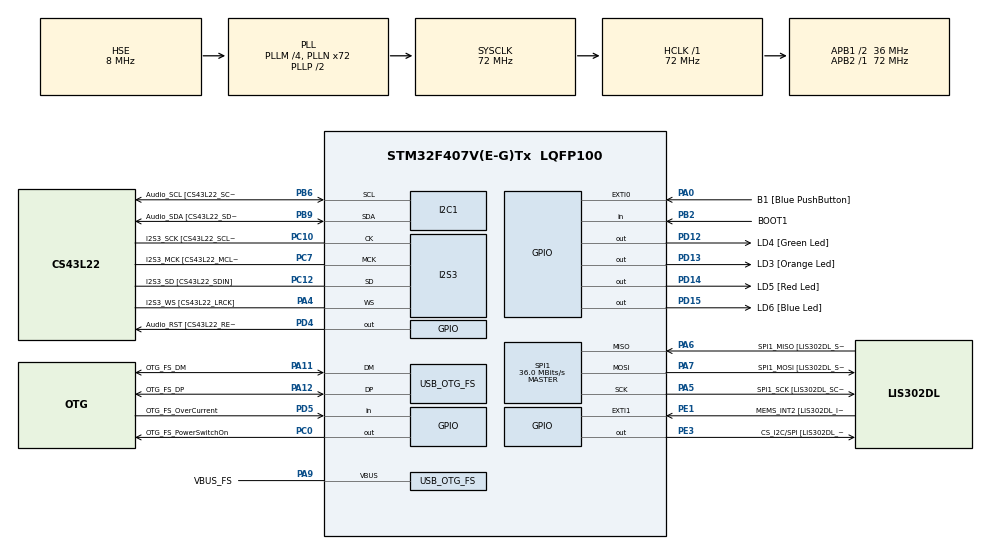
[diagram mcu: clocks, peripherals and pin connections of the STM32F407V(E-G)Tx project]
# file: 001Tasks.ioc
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I2S3.AudioFreq=I2S_AUDIOFREQ_96K
I2S3.AudioFreq-Half_Duplex_Master=I2S_AUDIOFREQ_96K
I2S3.ErrorAudioFreq=1.72 %
I2S3.ErrorAudioFreq-Half_Duplex_Master=0.8 %
I2S3.FullDuplexMode=I2S_FULLDUPLEXMODE_DISABLE
I2S3.Instance=SPI$Index
I2S3.RealAudioFreq=97.656 KHz
I2S3.RealAudioFreq-Half_Duplex_Master=96.774 KHz
I2S3.VirtualMode=I2S_MODE_MASTER
Mcu.Family=STM32F4
Mcu.Name=STM32F407V(E-G)Tx
Mcu.Package=LQFP100
NVIC.OTG_FS_IRQn=true\:0\:0\:false\:false\:true\:true\:true\:true
NVIC.PriorityGroup=NVIC_PRIORITYGROUP_4
NVIC.TIM6_DAC_IRQn=true\:0\:0\:false\:false\:true\:false\:true\:true
NVIC.TimeBase=TIM6_DAC_IRQn
NVIC.TimeBaseIP=TIM6
PA0-WKUP.GPIO_Label=B1 [Blue PushButton]
PA0-WKUP.GPIO_ModeDefaultEXTI=GPIO_MODE_EVT_RISING
PA0-WKUP.GPIO_PuPd=GPIO_NOPULL
PA0-WKUP.Signal=GPXTI0
PA10.GPIO_Label=OTG_FS_ID
PA10.GPIO_Mode=GPIO_MODE_AF_PP
PA10.GPIO_PuPd=GPIO_NOPULL
PA10.GPIO_Speed=GPIO_SPEED_FREQ_LOW
PA10.Signal=USB_OTG_FS_ID
PA11.GPIO_Label=OTG_FS_DM
PA11.GPIO_Mode=GPIO_MODE_AF_PP
PA11.GPIO_PuPd=GPIO_NOPULL
PA11.GPIO_Speed=GPIO_SPEED_FREQ_LOW
PA11.Mode=Host_Only
PA11.Signal=USB_OTG_FS_DM
PA12.GPIO_Label=OTG_FS_DP
PA12.GPIO_Mode=GPIO_MODE_AF_PP
PA12.GPIO_PuPd=GPIO_NOPULL
PA12.GPIO_Speed=GPIO_SPEED_FREQ_LOW
PA12.Mode=Host_Only
PA12.Signal=USB_OTG_FS_DP
PA13.GPIO_Label=SWDIO
PA13.Mode=Serial_Wire
PA13.Signal=SYS_JTMS-SWDIO
PA14.GPIO_Label=SWCLK
PA14.Mode=Serial_Wire
PA14.Signal=SYS_JTCK-SWCLK
PA4.GPIO_Label=I2S3_WS [CS43L22_LRCK]
PA4.GPIO_Mode=GPIO_MODE_AF_PP
PA4.GPIO_PuPd=GPIO_NOPULL
PA4.GPIO_Speed=GPIO_SPEED_FREQ_LOW
PA4.Mode=Half_Duplex_Master
PA4.Signal=I2S3_WS
PA5.GPIO_Label=SPI1_SCK [LIS302DL_SCL/SPC]
PA5.GPIO_Mode=GPIO_MODE_AF_PP
PA5.GPIO_PuPd=GPIO_NOPULL
PA5.GPIO_Speed=GPIO_SPEED_FREQ_LOW
PA5.Mode=Full_Duplex_Master
PA5.Signal=SPI1_SCK
PA6.GPIO_Label=SPI1_MISO [LIS302DL_SDO]
PA6.GPIO_Mode=GPIO_MODE_AF_PP
PA6.GPIO_PuPd=GPIO_NOPULL
PA6.GPIO_Speed=GPIO_SPEED_FREQ_LOW
PA6.Mode=Full_Duplex_Master
PA6.Signal=SPI1_MISO
PA7.GPIO_Label=SPI1_MOSI [LIS302DL_SDA/SDI/SDO]
PA7.GPIO_Mode=GPIO_MODE_AF_PP
PA7.GPIO_PuPd=GPIO_NOPULL
PA7.GPIO_Speed=GPIO_SPEED_FREQ_LOW
PA7.Mode=Full_Duplex_Master
PA7.Signal=SPI1_MOSI
PA9.GPIO_Label=VBUS_FS
PA9.GPIO_Mode=GPIO_MODE_INPUT
PA9.GPIO_PuPd=GPIO_NOPULL
PA9.Mode=Activate_VBUS
PA9.Signal=USB_OTG_FS_VBUS
PB10.GPIO_Label=CLK_IN [MP45DT02_CLK]
PB10.GPIO_Mode=GPIO_MODE_AF_PP
PB10.GPIO_PuPd=GPIO_NOPULL
PB10.GPIO_Speed=GPIO_SPEED_FREQ_LOW
PB10.Signal=I2S2_CK
PB2.GPIO_Label=BOOT1
PB2.GPIO_Mode=GPIO_MODE_INPUT
PB2.GPIO_PuPd=GPIO_NOPULL
PB2.Signal=GPIO_Input
PB3.GPIO_Label=SWO
PB3.Signal=SYS_JTDO-SWO
PB6.GPIO_Label=Audio_SCL [CS43L22_SCL]
PB6.GPIO_Mode=GPIO_MODE_AF_OD
PB6.GPIO_Pu=GPIO_PULLUP
PB6.GPIO_PuPd=GPIO_NOPULL
PB6.GPIO_Speed=GPIO_SPEED_FREQ_LOW
PB6.Mode=I2C
PB6.Signal=I2C1_SCL
PB9.GPIO_Label=Audio_SDA [CS43L22_SDA]
PB9.GPIO_Mode=GPIO_MODE_AF_OD
PB9.GPIO_Pu=GPIO_PULLUP
PB9.GPIO_PuPd=GPIO_NOPULL
PB9.GPIO_Speed=GPIO_SPEED_FREQ_LOW
PB9.Mode=I2C
PB9.Signal=I2C1_SDA
PC0.GPIO_Label=OTG_FS_PowerSwitchOn
PC0.GPIO_PuPd=GPIO_NOPULL
PC0.GPIO_Speed=GPIO_SPEED_FREQ_LOW
PC0.PinState=GPIO_PIN_SET
PC0.Signal=GPIO_Output
PC10.GPIO_Label=I2S3_SCK [CS43L22_SCLK]
PC10.GPIO_Mode=GPIO_MODE_AF_PP
PC10.GPIO_PuPd=GPIO_NOPULL
PC10.GPIO_Speed=GPIO_SPEED_FREQ_LOW
PC10.Mode=Half_Duplex_Master
PC10.Signal=I2S3_CK
PC12.GPIO_Label=I2S3_SD [CS43L22_SDIN]
PC12.GPIO_Mode=GPIO_MODE_AF_PP
PC12.GPIO_PuPd=GPIO_NOPULL
PC12.GPIO_Speed=GPIO_SPEED_FREQ_LOW
PC12.Mode=Half_Duplex_Master
PC12.Signal=I2S3_SD
PC14-OSC32_IN.GPIO_Label=PC14-OSC32_IN
PC14-OSC32_IN.Mode=LSE-External-Oscillator
PC14-OSC32_IN.Signal=RCC_OSC32_IN
PC15-OSC32_OUT.GPIO_Label=PC15-OSC32_OUT
PC15-OSC32_OUT.Mode=LSE-External-Oscillator
PC15-OSC32_OUT.Signal=RCC_OSC32_OUT
PC3.GPIO_Label=PDM_OUT [MP45DT02_DOUT]
PC3.GPIO_Mode=GPIO_MODE_AF_PP
PC3.GPIO_PuPd=GPIO_NOPULL
PC3.GPIO_Speed=GPIO_SPEED_FREQ_LOW
PC3.Signal=I2S2_SD
PC7.GPIO_Label=I2S3_MCK [CS43L22_MCLK]
PC7.GPIO_Mode=GPIO_MODE_AF_PP
PC7.GPIO_PuPd=GPIO_NOPULL
PC7.GPIO_Speed=GPIO_SPEED_FREQ_LOW
PC7.Mode=Master_Clock_Activated
PC7.Signal=I2S3_MCK
PD12.GPIO_Label=LD4 [Green Led]
PD12.GPIO_PuPd=GPIO_NOPULL
PD12.GPIO_Speed=GPIO_SPEED_FREQ_LOW
PD12.Signal=GPIO_Output
PD13.GPIO_Label=LD3 [Orange Led]
PD13.GPIO_PuPd=GPIO_NOPULL
PD13.GPIO_Speed=GPIO_SPEED_FREQ_LOW
PD13.Signal=GPIO_Output
PD14.GPIO_Label=LD5 [Red Led]
PD14.GPIO_PuPd=GPIO_NOPULL
PD14.GPIO_Speed=GPIO_SPEED_FREQ_LOW
PD14.Signal=GPIO_Output
PD15.GPIO_Label=LD6 [Blue Led]
PD15.GPIO_PuPd=GPIO_NOPULL
PD15.GPIO_Speed=GPIO_SPEED_FREQ_LOW
PD15.Signal=GPIO_Output
PD4.GPIO_Label=Audio_RST [CS43L22_RESET]
PD4.GPIO_PuPd=GPIO_NOPULL
PD4.GPIO_Speed=GPIO_SPEED_FREQ_LOW
PD4.Signal=GPIO_Output
PD5.GPIO_Label=OTG_FS_OverCurrent
PD5.GPIO_Mode=GPIO_MODE_INPUT
PD5.GPIO_PuPd=GPIO_NOPULL
PD5.Signal=GPIO_Input
PE1.GPIO_Label=MEMS_INT2 [LIS302DL_INT2]
PE1.GPIO_ModeDefaultEXTI=GPIO_MODE_EVT_RISING
PE1.GPIO_PuPd=GPIO_NOPULL
PE1.Signal=GPXTI1
PE3.GPIO_Label=CS_I2C/SPI [LIS302DL_CS_I2C/SPI]
PE3.GPIO_PuPd=GPIO_NOPULL
PE3.GPIO_Speed=GPIO_SPEED_FREQ_LOW
PE3.Signal=GPIO_Output
PH0-OSC_IN.GPIO_Label=PH0-OSC_IN
PH0-OSC_IN.Mode=HSE-External-Oscillator
PH0-OSC_IN.Signal=RCC_OSC_IN
PH1-OSC_OUT.GPIO_Label=PH1-OSC_OUT
PH1-OSC_OUT.Mode=HSE-External-Oscillator
PH1-OSC_OUT.Signal=RCC_OSC_OUT
ProjectManager.HeapSize=0x200
ProjectManager.StackSize=0x400
ProjectManager.TargetToolchain=STM32CubeIDE
RCC.48MHZClocksFreq_Value=48000000
RCC.AHBFreq_Value=72000000
RCC.APB1CLKDivider=RCC_HCLK_DIV2
RCC.APB1Freq_Value=36000000
RCC.APB1TimFreq_Value=72000000
RCC.APB2Freq_Value=72000000
RCC.APB2TimFreq_Value=72000000
RCC.CortexFreq_Value=72000000
RCC.HCLKFreq_Value=72000000
RCC.HSE_VALUE=8000000
RCC.HSI_VALUE=16000000
RCC.PLLI2SN=100
RCC.PLLM=4
RCC.PLLN=72
RCC.PLLQ=3
RCC.SYSCLKFreq_VALUE=72000000
RCC.SYSCLKSource=RCC_SYSCLKSOURCE_PLLCLK
RCC.VCOOutputFreq_Value=144000000
SPI1.BaudRatePrescaler=SPI_BAUDRATEPRESCALER_2
SPI1.BaudRatePrescaler-Full_Duplex_Master=SPI_BAUDRATEPRESCALER_2
SPI1.CalculateBaudRate=36.0 MBits/s
SPI1.CalculateBaudRate-Full_Duplex_Master=42.0 MBits/s
SPI1.Direction=SPI_DIRECTION_2LINES
SPI1.Mode=SPI_MODE_MASTER
SPI1.Mode-Full_Duplex_Master=SPI_MODE_MASTER
SPI1.VirtualType=VM_MASTER
USB_HOST.BSP.number=1
USB_HOST.USBH_HandleTypeDef-CDC_FS=hUsbHostFS
USB_HOST.VirtualModeFS=Cdc
USB_HOST0.BSP.STBoard=false
USB_HOST0.BSP.api=Unknown
USB_HOST0.BSP.instance=PC0
USB_HOST0.BSP.ip=GPIO
USB_HOST0.BSP.mode=Output
USB_HOST0.BSP.name=Drive_VBUS_FS
USB_HOST0.BSP.solution=PC0
USB_OTG_FS.VirtualMode=Host_Only
USB_OTG_FS.phy_itface=HCD_PHY_EMBEDDED
VP_SYS_VS_tim6.Mode=TIM6
VP_USB_HOST_VS_USB_HOST_CDC_FS.Mode=CDC_FS
board=STM32F407G-DISC1

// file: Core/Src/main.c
/* USER CODE BEGIN Header */
/**
  ******************************************************************************
  * @file           : main.c
  * @brief          : Main program body
  ******************************************************************************
  * @attention
  *
  * Copyright (c) 2024 STMicroelectronics.
  * All rights reserved.
  *
  * This software is licensed under terms that can be found in the LICENSE file
  * in the root directory of this software component.
  * If no LICENSE file comes with this software, it is provided AS-IS.
  *
  ******************************************************************************
  */
/* USER CODE END Header */
#include "main.h"
#include "usb_host.h"

/* USER CODE BEGIN Includes */
#include <stdio.h>
#include "FreeRTOS.h"
#include "task.h"

/* USER CODE END Includes */

I2C_HandleTypeDef hi2c1;

I2S_HandleTypeDef hi2s3;

SPI_HandleTypeDef hspi1;

/* USER CODE BEGIN PV */

#define DWT_CTRL    (*(volatile uint32_t*)0xE0001000)

/* USER CODE END PV */

void SystemClock_Config(void);
static void MX_GPIO_Init(void);
static void MX_I2C1_Init(void);
static void MX_I2S3_Init(void);
static void MX_SPI1_Init(void);
void MX_USB_HOST_Process(void);

/* USER CODE BEGIN PFP */

	static void task1_handler(void *parameters);
	static void task2_handler(void *parameters);

/* USER CODE END PFP */

int main(void)
{

  /* USER CODE BEGIN 1 */

	TaskHandle_t task1_handle;
	TaskHandle_t task2_handle;

	BaseType_t status;

  /* USER CODE END 1 */

  /* MCU Configuration--------------------------------------------------------*/

  /* Reset of all peripherals, Initializes the Flash interface and the Systick. */
	HAL_Init();

  /* Configure the system clock */
  SystemClock_Config();

  /* Initialize all configured peripherals */
  MX_GPIO_Init();
  MX_I2C1_Init();
  MX_I2S3_Init();
  MX_SPI1_Init();
  MX_USB_HOST_Init();
  /* USER CODE BEGIN 2 */

  //enable the CYCCNT counter
  DWT_CTRL |= (1 << 0);

  SEGGER_SYSVIEW_Conf();

  SEGGER_SYSVIEW_Start();

  status = xTaskCreate(task1_handler, "Task-1", 200, "Hello World from Task-1", 2, &task1_handle);

  configASSERT(status == pdPASS);

  status = xTaskCreate(task2_handler, "Task-2", 200, "Hello World from Task-2", 2, &task2_handle);

  configASSERT(status == pdPASS);

  // start the freeRTOS schedular
  vTaskStartScheduler();

  // if the control comes here then the launch of the schedular has failed due to insufficinet memory in heap
  /* USER CODE END 2 */

  /* Infinite loop */
  while (1)
  {
    MX_USB_HOST_Process();

  }
}

void SystemClock_Config(void)
{
  RCC_OscInitTypeDef RCC_OscInitStruct = {0};
  RCC_ClkInitTypeDef RCC_ClkInitStruct = {0};

  /** Configure the main internal regulator output voltage
  */
  __HAL_RCC_PWR_CLK_ENABLE();
  __HAL_PWR_VOLTAGESCALING_CONFIG(PWR_REGULATOR_VOLTAGE_SCALE1);

  /** Initializes the RCC Oscillators according to the specified parameters
  * in the RCC_OscInitTypeDef structure.
  */
  RCC_OscInitStruct.OscillatorType = RCC_OSCILLATORTYPE_HSE;
  RCC_OscInitStruct.HSEState = RCC_HSE_ON;
  RCC_OscInitStruct.PLL.PLLState = RCC_PLL_ON;
  RCC_OscInitStruct.PLL.PLLSource = RCC_PLLSOURCE_HSE;
  RCC_OscInitStruct.PLL.PLLM = 4;
  RCC_OscInitStruct.PLL.PLLN = 72;
  RCC_OscInitStruct.PLL.PLLP = RCC_PLLP_DIV2;
  RCC_OscInitStruct.PLL.PLLQ = 3;
  if (HAL_RCC_OscConfig(&RCC_OscInitStruct) != HAL_OK)
  {
    Error_Handler();
  }

  /** Initializes the CPU, AHB and APB buses clocks
  */
  RCC_ClkInitStruct.ClockType = RCC_CLOCKTYPE_HCLK|RCC_CLOCKTYPE_SYSCLK
                              |RCC_CLOCKTYPE_PCLK1|RCC_CLOCKTYPE_PCLK2;
  RCC_ClkInitStruct.SYSCLKSource = RCC_SYSCLKSOURCE_PLLCLK;
  RCC_ClkInitStruct.AHBCLKDivider = RCC_SYSCLK_DIV1;
  RCC_ClkInitStruct.APB1CLKDivider = RCC_HCLK_DIV2;
  RCC_ClkInitStruct.APB2CLKDivider = RCC_HCLK_DIV1;

  if (HAL_RCC_ClockConfig(&RCC_ClkInitStruct, FLASH_LATENCY_2) != HAL_OK)
  {
    Error_Handler();
  }
}

static void MX_I2C1_Init(void)
{

  hi2c1.Instance = I2C1;
  hi2c1.Init.ClockSpeed = 100000;
  hi2c1.Init.DutyCycle = I2C_DUTYCYCLE_2;
  hi2c1.Init.OwnAddress1 = 0;
  hi2c1.Init.AddressingMode = I2C_ADDRESSINGMODE_7BIT;
  hi2c1.Init.DualAddressMode = I2C_DUALADDRESS_DISABLE;
  hi2c1.Init.OwnAddress2 = 0;
  hi2c1.Init.GeneralCallMode = I2C_GENERALCALL_DISABLE;
  hi2c1.Init.NoStretchMode = I2C_NOSTRETCH_DISABLE;
  if (HAL_I2C_Init(&hi2c1) != HAL_OK)
  {
    Error_Handler();
  }

}

static void MX_I2S3_Init(void)
{

  hi2s3.Instance = SPI3;
  hi2s3.Init.Mode = I2S_MODE_MASTER_TX;
  hi2s3.Init.Standard = I2S_STANDARD_PHILIPS;
  hi2s3.Init.DataFormat = I2S_DATAFORMAT_16B;
  hi2s3.Init.MCLKOutput = I2S_MCLKOUTPUT_ENABLE;
  hi2s3.Init.AudioFreq = I2S_AUDIOFREQ_96K;
  hi2s3.Init.CPOL = I2S_CPOL_LOW;
  hi2s3.Init.ClockSource = I2S_CLOCK_PLL;
  hi2s3.Init.FullDuplexMode = I2S_FULLDUPLEXMODE_DISABLE;
  if (HAL_I2S_Init(&hi2s3) != HAL_OK)
  {
    Error_Handler();
  }

}

static void MX_SPI1_Init(void)
{

  /* SPI1 parameter configuration*/
  hspi1.Instance = SPI1;
  hspi1.Init.Mode = SPI_MODE_MASTER;
  hspi1.Init.Direction = SPI_DIRECTION_2LINES;
  hspi1.Init.DataSize = SPI_DATASIZE_8BIT;
  hspi1.Init.CLKPolarity = SPI_POLARITY_LOW;
  hspi1.Init.CLKPhase = SPI_PHASE_1EDGE;
  hspi1.Init.NSS = SPI_NSS_SOFT;
  hspi1.Init.BaudRatePrescaler = SPI_BAUDRATEPRESCALER_2;
  hspi1.Init.FirstBit = SPI_FIRSTBIT_MSB;
  hspi1.Init.TIMode = SPI_TIMODE_DISABLE;
  hspi1.Init.CRCCalculation = SPI_CRCCALCULATION_DISABLE;
  hspi1.Init.CRCPolynomial = 10;
  if (HAL_SPI_Init(&hspi1) != HAL_OK)
  {
    Error_Handler();
  }

}

static void MX_GPIO_Init(void)
{
  GPIO_InitTypeDef GPIO_InitStruct = {0};

  /* GPIO Ports Clock Enable */
  __HAL_RCC_GPIOE_CLK_ENABLE();
  __HAL_RCC_GPIOC_CLK_ENABLE();
  __HAL_RCC_GPIOH_CLK_ENABLE();
  __HAL_RCC_GPIOA_CLK_ENABLE();
  __HAL_RCC_GPIOB_CLK_ENABLE();
  __HAL_RCC_GPIOD_CLK_ENABLE();

  /*Configure GPIO pin Output Level */
  HAL_GPIO_WritePin(CS_I2C_SPI_GPIO_Port, CS_I2C_SPI_Pin, GPIO_PIN_RESET);

  /*Configure GPIO pin Output Level */
  HAL_GPIO_WritePin(OTG_FS_PowerSwitchOn_GPIO_Port, OTG_FS_PowerSwitchOn_Pin, GPIO_PIN_SET);

  /*Configure GPIO pin Output Level */
  HAL_GPIO_WritePin(GPIOD, LD4_Pin|LD3_Pin|LD5_Pin|LD6_Pin
                          |Audio_RST_Pin, GPIO_PIN_RESET);

  /*Configure GPIO pin : CS_I2C_SPI_Pin */
  GPIO_InitStruct.Pin = CS_I2C_SPI_Pin;
  GPIO_InitStruct.Mode = GPIO_MODE_OUTPUT_PP;
  GPIO_InitStruct.Pull = GPIO_NOPULL;
  GPIO_InitStruct.Speed = GPIO_SPEED_FREQ_LOW;
  HAL_GPIO_Init(CS_I2C_SPI_GPIO_Port, &GPIO_InitStruct);

  /*Configure GPIO pin : OTG_FS_PowerSwitchOn_Pin */
  GPIO_InitStruct.Pin = OTG_FS_PowerSwitchOn_Pin;
  GPIO_InitStruct.Mode = GPIO_MODE_OUTPUT_PP;
  GPIO_InitStruct.Pull = GPIO_NOPULL;
  GPIO_InitStruct.Speed = GPIO_SPEED_FREQ_LOW;
  HAL_GPIO_Init(OTG_FS_PowerSwitchOn_GPIO_Port, &GPIO_InitStruct);

  /*Configure GPIO pin : PDM_OUT_Pin */
  GPIO_InitStruct.Pin = PDM_OUT_Pin;
  GPIO_InitStruct.Mode = GPIO_MODE_AF_PP;
  GPIO_InitStruct.Pull = GPIO_NOPULL;
  GPIO_InitStruct.Speed = GPIO_SPEED_FREQ_LOW;
  GPIO_InitStruct.Alternate = GPIO_AF5_SPI2;
  HAL_GPIO_Init(PDM_OUT_GPIO_Port, &GPIO_InitStruct);

  /*Configure GPIO pin : B1_Pin */
  GPIO_InitStruct.Pin = B1_Pin;
  GPIO_InitStruct.Mode = GPIO_MODE_EVT_RISING;
  GPIO_InitStruct.Pull = GPIO_NOPULL;
  HAL_GPIO_Init(B1_GPIO_Port, &GPIO_InitStruct);

  /*Configure GPIO pin : BOOT1_Pin */
  GPIO_InitStruct.Pin = BOOT1_Pin;
  GPIO_InitStruct.Mode = GPIO_MODE_INPUT;
  GPIO_InitStruct.Pull = GPIO_NOPULL;
  HAL_GPIO_Init(BOOT1_GPIO_Port, &GPIO_InitStruct);

  /*Configure GPIO pin : CLK_IN_Pin */
  GPIO_InitStruct.Pin = CLK_IN_Pin;
  GPIO_InitStruct.Mode = GPIO_MODE_AF_PP;
  GPIO_InitStruct.Pull = GPIO_NOPULL;
  GPIO_InitStruct.Speed = GPIO_SPEED_FREQ_LOW;
  GPIO_InitStruct.Alternate = GPIO_AF5_SPI2;
  HAL_GPIO_Init(CLK_IN_GPIO_Port, &GPIO_InitStruct);

  /*Configure GPIO pins : LD4_Pin LD3_Pin LD5_Pin LD6_Pin
                           Audio_RST_Pin */
  GPIO_InitStruct.Pin = LD4_Pin|LD3_Pin|LD5_Pin|LD6_Pin
                          |Audio_RST_Pin;
  GPIO_InitStruct.Mode = GPIO_MODE_OUTPUT_PP;
  GPIO_InitStruct.Pull = GPIO_NOPULL;
  GPIO_InitStruct.Speed = GPIO_SPEED_FREQ_LOW;
  HAL_GPIO_Init(GPIOD, &GPIO_InitStruct);

  /*Configure GPIO pin : OTG_FS_OverCurrent_Pin */
  GPIO_InitStruct.Pin = OTG_FS_OverCurrent_Pin;
  GPIO_InitStruct.Mode = GPIO_MODE_INPUT;
  GPIO_InitStruct.Pull = GPIO_NOPULL;
  HAL_GPIO_Init(OTG_FS_OverCurrent_GPIO_Port, &GPIO_InitStruct);

  /*Configure GPIO pin : MEMS_INT2_Pin */
  GPIO_InitStruct.Pin = MEMS_INT2_Pin;
  GPIO_InitStruct.Mode = GPIO_MODE_EVT_RISING;
  GPIO_InitStruct.Pull = GPIO_NOPULL;
  HAL_GPIO_Init(MEMS_INT2_GPIO_Port, &GPIO_InitStruct);

}

/* USER CODE BEGIN 4 */

static void task1_handler(void *parameters)
{
	char msg[100];
	while(1)
	{
		snprintf(msg,100,"%s\n",(char*)parameters);
		SEGGER_SYSVIEW_PrintfTarget(msg);
		taskYIELD();
	}
}

static void task2_handler(void *parameters)
{
	char msg[100];
	while(1)
	{
		snprintf(msg,100,"%s\n",(char*)parameters);
		SEGGER_SYSVIEW_PrintfTarget(msg);
		taskYIELD();
	}
}

/* USER CODE END 4 */

void HAL_TIM_PeriodElapsedCallback(TIM_HandleTypeDef *htim)
{
  if (htim->Instance == TIM6) {
    HAL_IncTick();
  }
}

void Error_Handler(void)
{
  __disable_irq();
  while (1)
  {
  }
}
